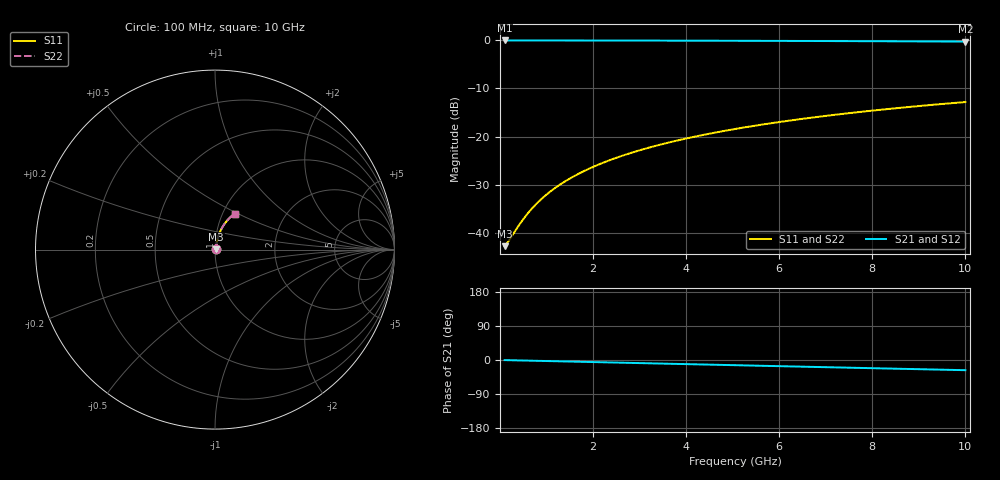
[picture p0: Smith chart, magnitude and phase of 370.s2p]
# Hz S RI R 50.00
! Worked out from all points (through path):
!   100 points, 100 MHz to 10 GHz, reference 50 ohm
!   highest |S21| = -0.06 dB at 100 MHz (marker M1); lowest = -0.3 dB at 10 GHz (marker M2)
!   group delay of S21, straight-line fit = 7.47 ps
!   lowest |S11| = -42.7 dB at 100 MHz (marker M3), VSWR 1.01, Z = 50.7 + j0.24 ohm
!   |S11| at or under -10 dB: start of sweep to end of sweep
!   |S22| runs from -42.7 to -12.8 dB; largest |S21 - S12| = 0
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1e8  0.0069 0.00237  0.9931 -0.00472  0.9931 -0.00472  0.0069 0.00237
2e8  0.00698 0.00473  0.993 -0.00944  0.993 -0.00944  0.00698 0.00473
4e8  0.00717 0.00946  0.9928 -0.0189  0.9928 -0.0189  0.00717 0.00946
5e8  0.00729 0.0118  0.9926 -0.0236  0.9926 -0.0236  0.00729 0.0118
6e8  0.00744 0.0142  0.9924 -0.0283  0.9924 -0.0283  0.00744 0.0142
7e8  0.0076 0.0166  0.9922 -0.033  0.9922 -0.033  0.0076 0.0166
8e8  0.00779 0.0189  0.992 -0.0377  0.992 -0.0377  0.00779 0.0189
1e9  0.00822 0.0236  0.9915 -0.0472  0.9915 -0.0472  0.00822 0.0236
1.2e9  0.00874 0.0283  0.9908 -0.0566  0.9908 -0.0566  0.00874 0.0283
1.5e9  0.00968 0.0354  0.9897 -0.0707  0.9897 -0.0707  0.00968 0.0354
1.8e9  0.0108 0.0423  0.9882 -0.0847  0.9882 -0.0847  0.0108 0.0423
2.1e9  0.0122 0.0493  0.9866 -0.0988  0.9866 -0.0988  0.0122 0.0493
2.5e9  0.0142 0.0585  0.984 -0.1174  0.984 -0.1174  0.0142 0.0585
2.9e9  0.0167 0.0676  0.9809 -0.136  0.9809 -0.136  0.0167 0.0676
3.4e9  0.0202 0.0789  0.9765 -0.159  0.9765 -0.159  0.0202 0.0789
4.2e9  0.0269 0.0964  0.9681 -0.1955  0.9681 -0.1955  0.0269 0.0964
5.1e9  0.0359 0.1154  0.9567 -0.2358  0.9567 -0.2358  0.0359 0.1154
5.9e9  0.0453 0.1316  0.9448 -0.2709  0.9448 -0.2709  0.0453 0.1316
6.7e9  0.0558 0.147  0.9314 -0.3052  0.9314 -0.3052  0.0558 0.147
7.5e9  0.0673 0.1614  0.9166 -0.3386  0.9166 -0.3386  0.0673 0.1614
8.4e9  0.0815 0.1765  0.8983 -0.3751  0.8983 -0.3751  0.0815 0.1765
1e10  0.1094 0.2001  0.8619 -0.4368  0.8619 -0.4368  0.1094 0.2001
